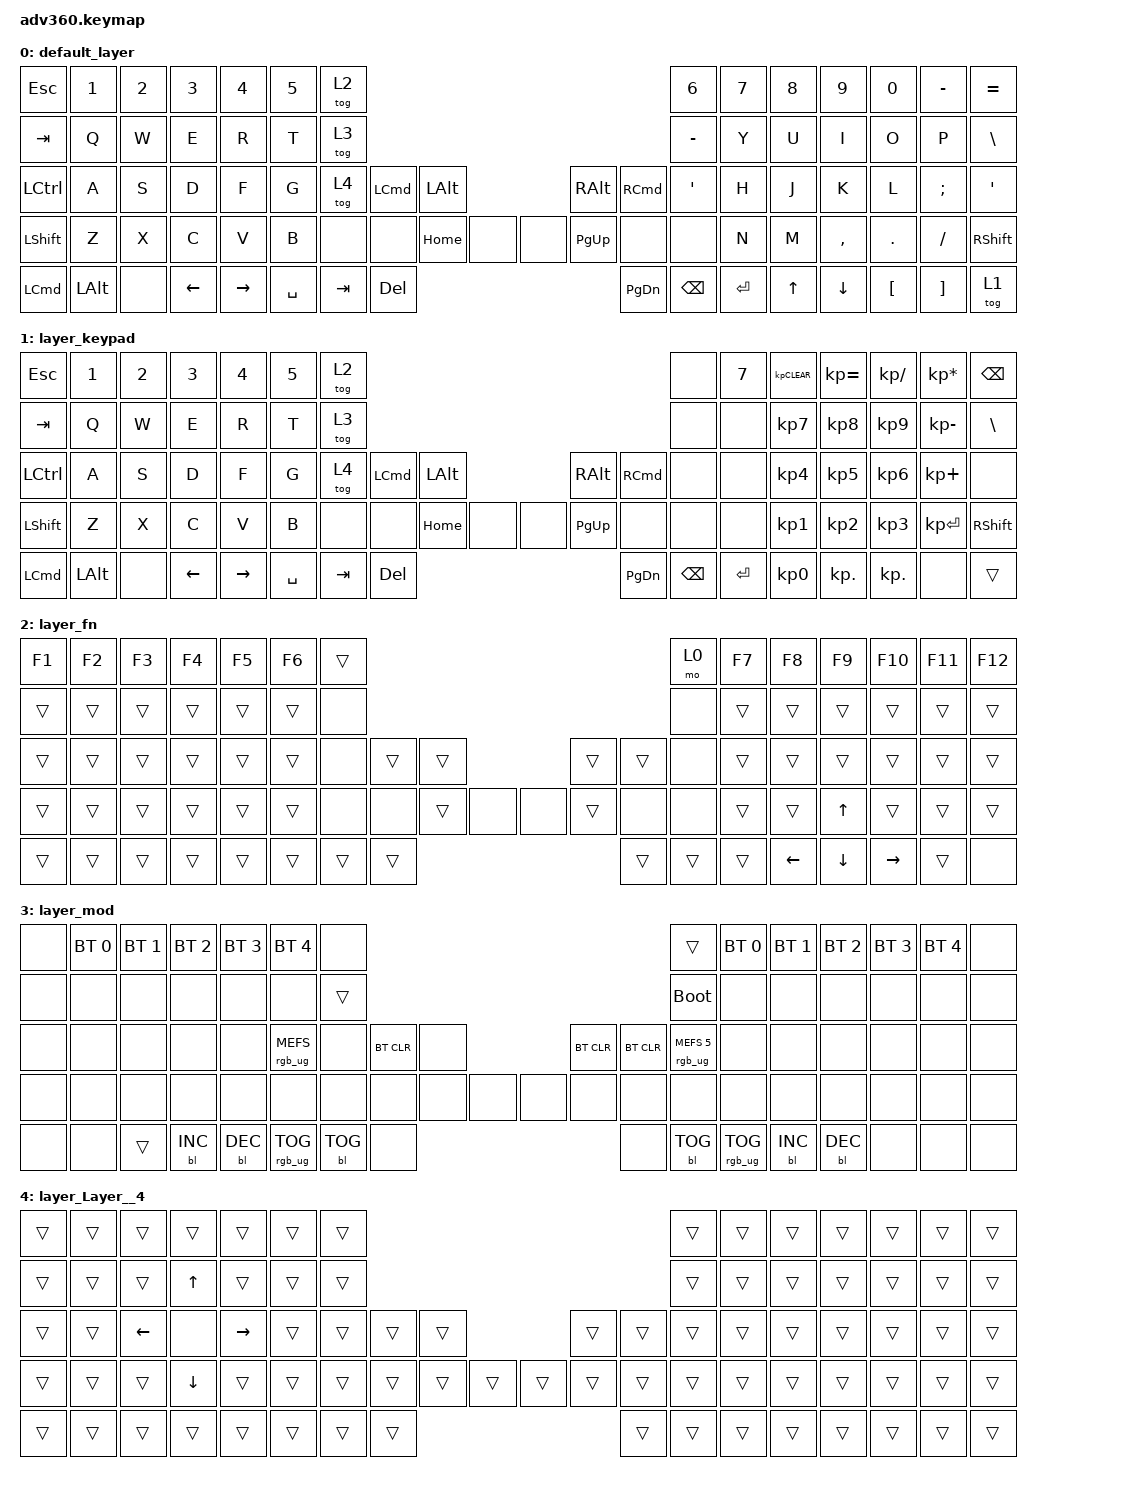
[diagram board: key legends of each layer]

/*
 * Copyright (c) 2020 The ZMK Contributors
 *
 * SPDX-License-Identifier: MIT
 */


/* THIS FILE WAS GENERATED!
 *
 * This file was generated automatically. You may or may not want to
 * edit it directly.
 */

#include <behaviors.dtsi>
#include <dt-bindings/zmk/keys.h>
#include <dt-bindings/zmk/bt.h>
#include <dt-bindings/zmk/rgb.h>
#include <dt-bindings/zmk/backlight.h>

/ {
  behaviors {
    #include "macros.dtsi"
    #include "version.dtsi"

    hm: homerow_mods {
        compatible = "zmk,behavior-hold-tap";
        label = "HOMEROW_MODS";
        #binding-cells = <2>;
        tapping-term-ms = <200>;
        quick_tap_ms = <175>;
        flavor = "tap-preferred";
        bindings = <&kp>, <&kp>;
    };
  };

    keymap {
        compatible = "zmk,keymap";


        default_layer {
            bindings = <
       &kp ESCAPE        &kp N1  &kp N2    &kp N3     &kp N4  &kp N5               &tog 2                                                                                       &kp N6  &kp N7  &kp N8     &kp N9    &kp N0  &kp MINUS         &kp EQUAL
          &kp TAB         &kp Q   &kp W     &kp E      &kp R   &kp T               &tog 3                                                                                    &kp MINUS   &kp Y   &kp U      &kp I     &kp O      &kp P          &kp BSLH
 &kp LEFT_CONTROL         &kp A   &kp S     &kp D      &kp F   &kp G               &tog 4  &kp LEFT_COMMAND  &kp LEFT_ALT                  &kp RIGHT_ALT  &kp RIGHT_COMMAND    &kp SQT   &kp H   &kp J      &kp K     &kp L   &kp SEMI  &kp SINGLE_QUOTE
        &kp LSHFT         &kp Z   &kp X     &kp C      &kp V   &kp B                &none             &none      &kp HOME   &none   &none      &kp PG_UP              &none      &none   &kp N   &kp M  &kp COMMA   &kp DOT   &kp FSLH         &kp RSHFT
         &kp LCMD  &kp LEFT_ALT   &none  &kp LEFT  &kp RIGHT                    &kp SPACE           &kp TAB    &kp DELETE                      &kp PG_DN      &kp BACKSPACE  &kp ENTER          &kp UP   &kp DOWN  &kp LBKT   &kp RBKT            &tog 1
            >;
        };

        layer_keypad {
            bindings = <
          &kp ESC        &kp N1  &kp N2    &kp N3     &kp N4  &kp N5               &tog 2                                                                                        &none  &kp NUMBER_7  &kp KP_CLEAR  &kp KP_EQUAL  &kp KP_DIVIDE  &kp KP_MULTIPLY  &kp BACKSPACE
          &kp TAB         &kp Q   &kp W     &kp E      &kp R   &kp T               &tog 3                                                                                        &none         &none     &kp KP_N7     &kp KP_N8      &kp KP_N9     &kp KP_MINUS       &kp BSLH
 &kp LEFT_CONTROL         &kp A   &kp S     &kp D      &kp F   &kp G               &tog 4  &kp LEFT_COMMAND  &kp LEFT_ALT                  &kp RIGHT_ALT  &kp RIGHT_COMMAND      &none         &none     &kp KP_N4     &kp KP_N5      &kp KP_N6      &kp KP_PLUS          &none
        &kp LSHFT         &kp Z   &kp X     &kp C      &kp V   &kp B                &none             &none      &kp HOME   &none   &none      &kp PG_UP              &none      &none         &none     &kp KP_N1     &kp KP_N2      &kp KP_N3     &kp KP_ENTER      &kp RSHFT
 &kp LEFT_COMMAND  &kp LEFT_ALT   &none  &kp LEFT  &kp RIGHT                    &kp SPACE           &kp TAB    &kp DELETE                      &kp PG_DN      &kp BACKSPACE  &kp ENTER                   &kp KP_N0    &kp KP_DOT     &kp KP_DOT            &none         &trans
            >;
        };

        layer_fn {
            bindings = <
 &kp F1  &kp F2  &kp F3  &kp F4  &kp F5  &kp F6            &trans                                                   &mo 0  &kp F7    &kp F8    &kp F9    &kp F10  &kp F11  &kp F12
 &trans  &trans  &trans  &trans  &trans  &trans             &none                                                   &none  &trans    &trans    &trans     &trans   &trans   &trans
 &trans  &trans  &trans  &trans  &trans  &trans             &none  &trans  &trans                  &trans  &trans   &none  &trans    &trans    &trans     &trans   &trans   &trans
 &trans  &trans  &trans  &trans  &trans  &trans             &none   &none  &trans   &none   &none  &trans   &none   &none  &trans    &trans    &kp UP     &trans   &trans   &trans
 &trans  &trans  &trans  &trans  &trans                    &trans  &trans  &trans                  &trans  &trans  &trans          &kp LEFT  &kp DOWN  &kp RIGHT   &trans    &none
            >;
        };

        layer_mod {
            bindings = <
  &none  &bt BT_SEL 0  &bt BT_SEL 1  &bt BT_SEL 2  &bt BT_SEL 3          &bt BT_SEL 4                      &none                                                                              &trans  &bt BT_SEL 0  &bt BT_SEL 1  &bt BT_SEL 2  &bt BT_SEL 3  &bt BT_SEL 4   &none
  &none         &none         &none         &none         &none                 &none                     &trans                                                                         &bootloader         &none         &none         &none         &none         &none   &none
  &none         &none         &none         &none         &none  &rgb_ug RGB_MEFS_CMD                      &none  &bt BT_CLR   &none                  &bt BT_CLR  &bt BT_CLR  &rgb_ug RGB_MEFS_CMD 5         &none         &none         &none         &none         &none   &none
  &none         &none         &none         &none         &none                 &none                      &none       &none   &none   &none   &none       &none       &none                   &none         &none         &none         &none         &none         &none   &none
  &none         &none        &trans    &bl BL_INC    &bl BL_DEC                                  &rgb_ug RGB_TOG  &bl BL_TOG   &none                       &none  &bl BL_TOG         &rgb_ug RGB_TOG                  &bl BL_INC    &bl BL_DEC         &none         &none   &none
            >;
        };

        layer_Layer__4 {
            bindings = <
 &trans  &trans          &trans          &trans           &trans  &trans            &trans                                                  &trans  &trans  &trans  &trans  &trans  &trans  &trans
 &trans  &trans          &trans    &kp UP_ARROW           &trans  &trans            &trans                                                  &trans  &trans  &trans  &trans  &trans  &trans  &trans
 &trans  &trans  &kp LEFT_ARROW           &none  &kp RIGHT_ARROW  &trans            &trans  &trans  &trans                  &trans  &trans  &trans  &trans  &trans  &trans  &trans  &trans  &trans
 &trans  &trans          &trans  &kp DOWN_ARROW           &trans  &trans            &trans  &trans  &trans  &trans  &trans  &trans  &trans  &trans  &trans  &trans  &trans  &trans  &trans  &trans
 &trans  &trans          &trans          &trans           &trans                    &trans  &trans  &trans                  &trans  &trans  &trans          &trans  &trans  &trans  &trans  &trans
            >;
        };

    };
};
